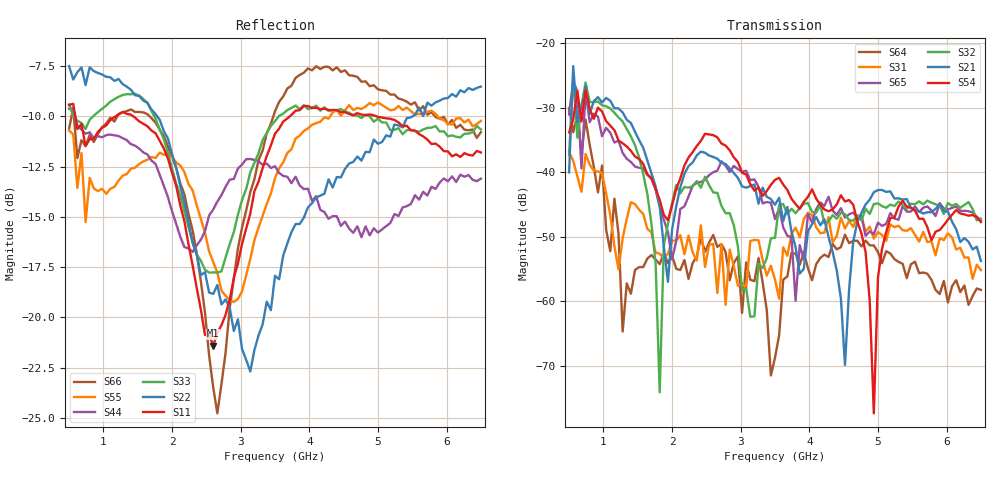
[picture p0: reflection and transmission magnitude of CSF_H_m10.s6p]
!Keysight Technologies,M9804A,MY58100912,A.14.10.03
!Date: Thursday, April 27, 2023 10:28:33
!Correction: S11(C  6-Port  )
!S12(C  6-Port  )
!S13(C  6-Port  )
!S14(C  6-Port  )
!S15(C  6-Port  )
!S16(C  6-Port  )
!S21(C  6-Port  )
!S22(C  6-Port  )
!S23(C  6-Port  )
!S24(C  6-Port  )
!S25(C  6-Port  )
!S26(C  6-Port  )
!S31(C  6-Port  )
!S32(C  6-Port  )
!S33(C  6-Port  )
!S34(C  6-Port  )
!S35(C  6-Port  )
!S36(C  6-Port  )
!S41(C  6-Port  )
!S42(C  6-Port  )
!S43(C  6-Port  )
!S44(C  6-Port  )
!S45(C  6-Port  )
!S46(C  6-Port  )
!S51(C  6-Port  )
!S52(C  6-Port  )
!S53(C  6-Port  )
!S54(C  6-Port  )
!S55(C  6-Port  )
!S56(C  6-Port  )
!S61(C  6-Port  )
!S62(C  6-Port  )
!S63(C  6-Port  )
!S64(C  6-Port  )
!S65(C  6-Port  )
!S66(C  6-Port  )
!S6P File: Measurement: :
# Hz S  RI  R 50
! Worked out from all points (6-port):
!   101 points, 500 MHz to 6.5 GHz, reference 50 ohm
!   strongest paths, dB at 500 MHz, 2 GHz, 3.5 GHz, 5 GHz, 6.5 GHz:
!     S54: -33.9, -45.2, -41.2, -56.3, -47.7
!     S21: -40.0, -48.9, -45.0, -42.7, -53.7
!     S32: -37.3, -44.8, -50.1, -44.8, -47.2
!     S65: -31.1, -53.5, -47.3, -47.8, -47.5
!     S31: -36.9, -50.6, -56.6, -49.3, -55.1
!     S64: -30.0, -52.9, -68.7, -52.4, -58.2
!   lowest |S11| = -21.4 dB at 2.6 GHz (marker M1), VSWR 1.19, Z = 42.5 + j2.19 ohm
!   |S11| at or under -10 dB: 589.9 MHz to 1.177 GHz (587 MHz wide, 66.4 % of centre); 1.436 GHz to 3.715 GHz (2.279 GHz wide, 88.5 % of centre); 4.981 GHz to end of sweep
